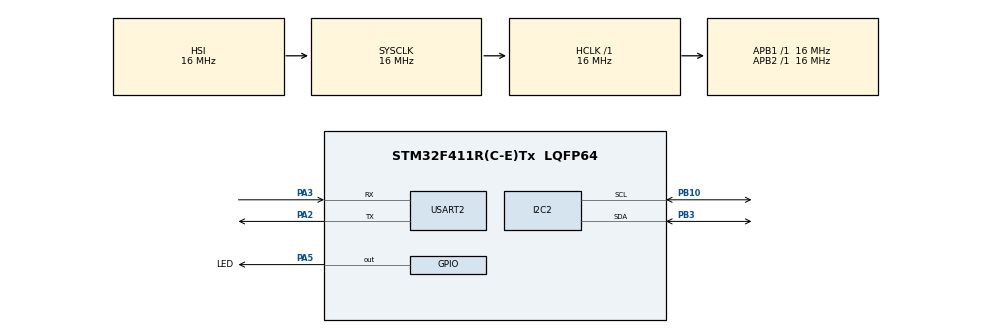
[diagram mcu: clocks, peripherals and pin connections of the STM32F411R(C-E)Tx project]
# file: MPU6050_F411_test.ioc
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Mcu.Family=STM32F4
Mcu.Name=STM32F411R(C-E)Tx
Mcu.Package=LQFP64
NVIC.I2C2_ER_IRQn=true\:0\:0\:false\:false\:true\:true\:true\:true
NVIC.I2C2_EV_IRQn=true\:0\:0\:false\:false\:true\:true\:true\:true
NVIC.PriorityGroup=NVIC_PRIORITYGROUP_4
PA2.Mode=Asynchronous
PA2.Signal=USART2_TX
PA3.Mode=Asynchronous
PA3.Signal=USART2_RX
PA5.GPIO_Label=LED
PA5.Signal=GPIO_Output
PB10.Mode=I2C
PB10.Signal=I2C2_SCL
PB3.Mode=I2C
PB3.Signal=I2C2_SDA
ProjectManager.HeapSize=0x200
ProjectManager.StackSize=0x400
ProjectManager.TargetToolchain=STM32CubeIDE
RCC.AHBFreq_Value=16000000
RCC.APB1Freq_Value=16000000
RCC.APB2Freq_Value=16000000
RCC.CortexFreq_Value=16000000
RCC.HSE_VALUE=25000000
RCC.HSI_VALUE=16000000
RCC.LSE_VALUE=32768
RCC.SYSCLKFreq_VALUE=16000000
RCC.VCOOutputFreq_Value=192000000
USART2.VirtualMode=VM_ASYNC
board=custom

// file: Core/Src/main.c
/* USER CODE BEGIN Header */
/**
  ******************************************************************************
  * @file           : main.c
  * @brief          : Main program body
  ******************************************************************************
  * @attention
  *
  * Copyright (c) 2026 STMicroelectronics.
  * All rights reserved.
  *
  * This software is licensed under terms that can be found in the LICENSE file
  * in the root directory of this software component.
  * If no LICENSE file comes with this software, it is provided AS-IS.
  *
  ******************************************************************************
  */
/* USER CODE END Header */
#include "main.h"

/* USER CODE BEGIN Includes */
#include "MPU6050.h"
#include "string.h"
#include "stdio.h"
#include "math.h"
/* USER CODE END Includes */

I2C_HandleTypeDef hi2c2;

UART_HandleTypeDef huart2;

/* USER CODE BEGIN PV */
MPU6050_t myMPU6050;
KalmanFilter_t xAxis_Kalman;
KalmanFilter_t yAxis_Kalman;
volatile float debug_ax = 0.0f,debug_ay = 0.0f,debug_az = 0.0f;
volatile float debug_gx = 0.0f,debug_gy = 0.0f,debug_gz = 0.0f;

volatile float xAngle = 0.0f, xAxis_filtered = 0.0f;
volatile float yAngle = 0.0f, yAxis_filtered = 0.0f;
#define PI 3.1416f
char msg[100];
/* USER CODE END PV */

void SystemClock_Config(void);
static void MX_GPIO_Init(void);
static void MX_I2C2_Init(void);
static void MX_USART2_UART_Init(void);

int main(void)
{

  /* MCU Configuration--------------------------------------------------------*/

  /* Reset of all peripherals, Initializes the Flash interface and the Systick. */
  HAL_Init();

  /* Configure the system clock */
  SystemClock_Config();

  /* Initialize all configured peripherals */
  MX_GPIO_Init();
  MX_I2C2_Init();
  MX_USART2_UART_Init();
  /* USER CODE BEGIN 2 */
  //MPU6050_Default_Init(&hi2c2, &myMPU6050); //Default init
  MPU6050_Custom_Init(&hi2c2, &myMPU6050, DLPF_MODE_2, GYRO_RANGE_1000_DPS, ACCEL_RANGE_4G); //Custom init
  MPU6050_Calibrate(&myMPU6050, 50); //Calibrate
  Kalman_init(&xAxis_Kalman);
  Kalman_init(&yAxis_Kalman);
  /* USER CODE END 2 */

  /* Infinite loop */
  /* USER CODE BEGIN WHILE */
  while (1)
  {
		  MPU6050_Read_Scaled_Poll(&myMPU6050); //Read values with interrrupt
		  debug_ax = myMPU6050.scaled_data.ax;debug_ay = myMPU6050.scaled_data.ay;debug_az = myMPU6050.scaled_data.az;
		  debug_gx = myMPU6050.scaled_data.gx;debug_gy = myMPU6050.scaled_data.gy;debug_gz = myMPU6050.scaled_data.gz;

		  //int strlen = snprintf(msg, sizeof(msg),"ax:%f, ay:%f, az:%f | gx:%f, gy:%f, gz:%f\r\n",
		  //	                        debug_ax, debug_ay, debug_az, debug_gx, debug_gy, debug_gz);
		  //HAL_UART_Transmit(&huart2, (uint8_t *)msg, strlen, HAL_MAX_DELAY);

		  xAngle = atan2(myMPU6050.scaled_data.ay, myMPU6050.scaled_data.az) * 180.0 / PI;
		  xAxis_filtered = Kalman_compute(&xAxis_Kalman, xAngle, myMPU6050.scaled_data.gx);

		  yAngle = atan2f(-myMPU6050.scaled_data.jkax, sqrtf(myMPU6050.scaled_data.ay * myMPU6050.scaled_data.ay + myMPU6050.scaled_data.az * myMPU6050.scaled_data.az)) * 180.0f / PI;
		  yAxis_filtered = Kalman_compute(&yAxis_Kalman, yAngle, myMPU6050.scaled_data.gy);

		  int strlen = snprintf(msg, sizeof(msg),"X angle:%f | Y angle:%f\r\n",xAxis_filtered, yAxis_filtered);
		  		  HAL_UART_Transmit(&huart2, (uint8_t *)msg, strlen, HAL_MAX_DELAY);
		  HAL_Delay(10);

	  /* USER CODE END WHILE */

  }
}

void SystemClock_Config(void)
{
  RCC_OscInitTypeDef RCC_OscInitStruct = {0};
  RCC_ClkInitTypeDef RCC_ClkInitStruct = {0};

  /** Configure the main internal regulator output voltage
  */
  __HAL_RCC_PWR_CLK_ENABLE();
  __HAL_PWR_VOLTAGESCALING_CONFIG(PWR_REGULATOR_VOLTAGE_SCALE1);

  /** Initializes the RCC Oscillators according to the specified parameters
  * in the RCC_OscInitTypeDef structure.
  */
  RCC_OscInitStruct.OscillatorType = RCC_OSCILLATORTYPE_HSI;
  RCC_OscInitStruct.HSIState = RCC_HSI_ON;
  RCC_OscInitStruct.HSICalibrationValue = RCC_HSICALIBRATION_DEFAULT;
  RCC_OscInitStruct.PLL.PLLState = RCC_PLL_NONE;
  if (HAL_RCC_OscConfig(&RCC_OscInitStruct) != HAL_OK)
  {
    Error_Handler();
  }

  /** Initializes the CPU, AHB and APB buses clocks
  */
  RCC_ClkInitStruct.ClockType = RCC_CLOCKTYPE_HCLK|RCC_CLOCKTYPE_SYSCLK
                              |RCC_CLOCKTYPE_PCLK1|RCC_CLOCKTYPE_PCLK2;
  RCC_ClkInitStruct.SYSCLKSource = RCC_SYSCLKSOURCE_HSI;
  RCC_ClkInitStruct.AHBCLKDivider = RCC_SYSCLK_DIV1;
  RCC_ClkInitStruct.APB1CLKDivider = RCC_HCLK_DIV1;
  RCC_ClkInitStruct.APB2CLKDivider = RCC_HCLK_DIV1;

  if (HAL_RCC_ClockConfig(&RCC_ClkInitStruct, FLASH_LATENCY_0) != HAL_OK)
  {
    Error_Handler();
  }
}

static void MX_I2C2_Init(void)
{

  hi2c2.Instance = I2C2;
  hi2c2.Init.ClockSpeed = 100000;
  hi2c2.Init.DutyCycle = I2C_DUTYCYCLE_2;
  hi2c2.Init.OwnAddress1 = 0;
  hi2c2.Init.AddressingMode = I2C_ADDRESSINGMODE_7BIT;
  hi2c2.Init.DualAddressMode = I2C_DUALADDRESS_DISABLE;
  hi2c2.Init.OwnAddress2 = 0;
  hi2c2.Init.GeneralCallMode = I2C_GENERALCALL_DISABLE;
  hi2c2.Init.NoStretchMode = I2C_NOSTRETCH_DISABLE;
  if (HAL_I2C_Init(&hi2c2) != HAL_OK)
  {
    Error_Handler();
  }

}

static void MX_USART2_UART_Init(void)
{

  huart2.Instance = USART2;
  huart2.Init.BaudRate = 115200;
  huart2.Init.WordLength = UART_WORDLENGTH_8B;
  huart2.Init.StopBits = UART_STOPBITS_1;
  huart2.Init.Parity = UART_PARITY_NONE;
  huart2.Init.Mode = UART_MODE_TX_RX;
  huart2.Init.HwFlowCtl = UART_HWCONTROL_NONE;
  huart2.Init.OverSampling = UART_OVERSAMPLING_16;
  if (HAL_UART_Init(&huart2) != HAL_OK)
  {
    Error_Handler();
  }

}

static void MX_GPIO_Init(void)
{
  GPIO_InitTypeDef GPIO_InitStruct = {0};

  /* GPIO Ports Clock Enable */
  __HAL_RCC_GPIOA_CLK_ENABLE();
  __HAL_RCC_GPIOB_CLK_ENABLE();

  /*Configure GPIO pin Output Level */
  HAL_GPIO_WritePin(LED_GPIO_Port, LED_Pin, GPIO_PIN_RESET);

  /*Configure GPIO pin : LED_Pin */
  GPIO_InitStruct.Pin = LED_Pin;
  GPIO_InitStruct.Mode = GPIO_MODE_OUTPUT_PP;
  GPIO_InitStruct.Pull = GPIO_NOPULL;
  GPIO_InitStruct.Speed = GPIO_SPEED_FREQ_LOW;
  HAL_GPIO_Init(LED_GPIO_Port, &GPIO_InitStruct);

}

/* USER CODE BEGIN 4 */
//This is the HAL memory receive callback function. here we put the MPU6050_interrupt_handler
void HAL_I2C_MemRxCpltCallback(I2C_HandleTypeDef *hi2c) {
	HAL_GPIO_TogglePin(LED_GPIO_Port, LED_Pin);
	if (hi2c == &hi2c2) {
        MPU6050_Interrupt_Handler(&myMPU6050); //MPU6050 interrupt function handler
    }
}
/* USER CODE END 4 */

void Error_Handler(void)
{
  __disable_irq();
  while (1)
  {
  }
}
